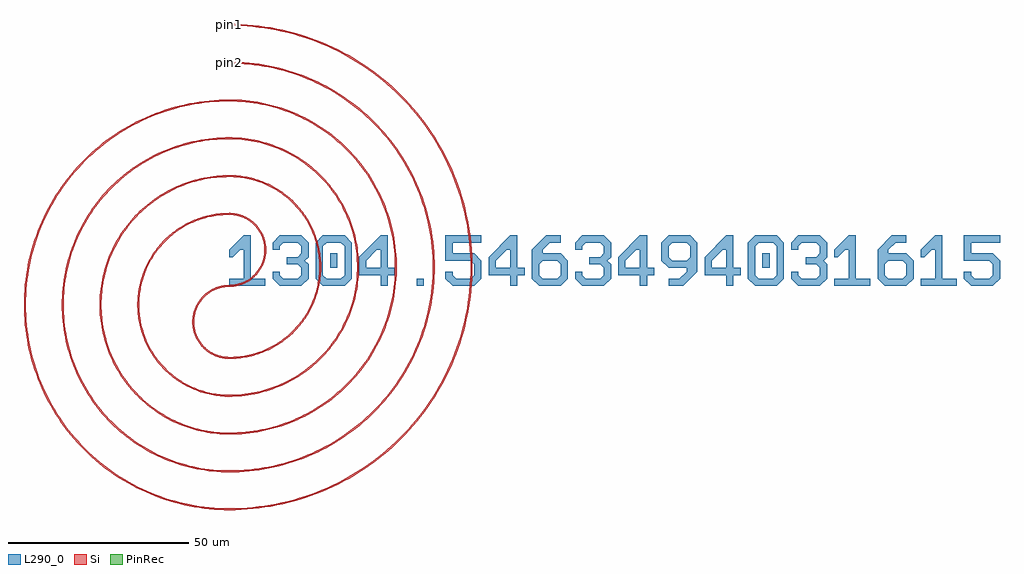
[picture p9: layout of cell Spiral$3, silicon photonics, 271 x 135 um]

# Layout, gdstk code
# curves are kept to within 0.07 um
import gdstk
lib = gdstk.Library(unit=1e-6, precision=1e-09)
def R(c, l, rs):  # rectangles x0, y0, x1, y1
    for r in rs: c.add(gdstk.rectangle(r[:2], r[2:], *l))
def P(c, l, *ps):  # polygons
    for p in ps: c.add(gdstk.Polygon(p, *l))
Si = (1, 0)
PinRec = (1, 10)
L290_0 = (290, 0)

spiral_3 = lib.new_cell('Spiral$3')
P(spiral_3, Si, [(0,-0.25),(0,0.25),(1.194,0.323),(2.369,0.542),(3.509,0.903),(4.384,1.291),(5.808,2.169),(7.061,3.277),(8.237,4.784),(9.097,6.491),(9.563,8.098),(9.75,10),(9.563,11.902),(9.097,13.509),(8.237,15.216),(7.061,16.723),(5.808,17.831),(4.384,18.709),(3.509,19.097),(2.369,19.458),(1.194,19.677),(0,19.75),(0,20.25),(1.005,20.201),(2,20.053),(2.975,19.809),(3.923,19.47),(5.695,18.523),(7.248,17.248),(8.523,15.695),(9.47,13.923),(9.809,12.975),(10.053,12),(10.201,11.005),(10.25,10),(10.201,8.995),(10.053,8),(9.809,7.025),(9.47,6.077),(8.523,4.305),(7.248,2.752),(5.695,1.477),(3.923,0.53),(2.975,0.191),(2,-0.053),(1.005,-0.201)],
  [(0,-20.25),(-1.005,-20.201),(-2,-20.053),(-3.923,-19.47),(-5.695,-18.523),(-7.248,-17.248),(-8.523,-15.695),(-9.47,-13.923),(-10.053,-12),(-10.201,-11.005),(-10.25,-10),(-10.201,-8.995),(-10.001,-7.754),(-9.371,-5.846),(-8.792,-4.73),(-8.233,-3.894),(-7.424,-2.932),(-6.695,-2.239),(-5.052,-1.082),(-4.154,-0.629),(-3.215,-0.267),(-1.504,0.139),(0.956,0.297),(2.136,0.487),(3.509,0.903),(4.806,1.517),(6.185,2.463),(7.537,3.815),(8.599,5.404),(9.258,6.942),(9.563,8.098),(9.724,9.283),(9.747,10.239),(9.644,11.431),(9.458,12.369),(9.097,13.509),(8.599,14.596),(7.971,15.614),(7.224,16.548),(6.548,17.224),(5.013,18.363),(3.951,18.914),(2.6,19.397),(1.194,19.677),(0,19.75),(0,20.25),(1.005,20.201),(2,20.053),(3.923,19.47),(5.695,18.523),(7.248,17.248),(8.523,15.695),(9.47,13.923),(10.053,12),(10.201,11.005),(10.25,10),(10.201,8.995),(10.001,7.754),(9.371,5.846),(8.792,4.73),(8.233,3.894),(7.424,2.932),(6.695,2.239),(5.052,1.082),(4.154,0.629),(3.215,0.267),(1.504,-0.139),(-0.956,-0.297),(-2.136,-0.487),(-3.509,-0.903),(-4.806,-1.517),(-6.185,-2.463),(-7.537,-3.815),(-8.599,-5.404),(-9.258,-6.942),(-9.563,-8.098),(-9.724,-9.283),(-9.747,-10.239),(-9.644,-11.431),(-9.458,-12.369),(-9.097,-13.509),(-8.599,-14.596),(-7.971,-15.614),(-7.224,-16.548),(-6.548,-17.224),(-5.013,-18.363),(-3.951,-18.914),(-2.6,-19.397),(-1.194,-19.677),(0,-19.75)],
  [(0,-20.25),(0,-19.75),(2.45,-19.63),(5.478,-19.143),(7.842,-18.488),(10.131,-17.605),(12.322,-16.502),(14.395,-15.19),(15.86,-14.075),(17.678,-12.428),(19.325,-10.61),(20.787,-8.639),(22.048,-6.535),(23.097,-4.317),(23.924,-2.007),(24.52,0.373),(24.88,2.8),(25,5.25),(24.88,7.7),(24.52,10.127),(23.924,12.507),(23.097,14.817),(22.048,17.035),(20.787,19.139),(19.325,21.11),(17.678,22.928),(15.86,24.575),(14.395,25.69),(12.322,27.002),(10.131,28.105),(7.842,28.988),(5.478,29.643),(2.45,30.13),(0,30.25),(0,30.75),(2.499,30.627),(4.975,30.26),(7.402,29.652),(9.758,28.809),(12.021,27.739),(14.167,26.452),(16.177,24.962),(18.031,23.281),(19.712,21.427),(21.202,19.417),(22.489,17.271),(23.559,15.008),(24.402,12.652),(25.01,10.225),(25.377,7.749),(25.5,5.25),(25.377,2.751),(25.01,0.275),(24.402,-2.152),(23.559,-4.508),(22.489,-6.771),(21.202,-8.917),(19.712,-10.927),(18.031,-12.781),(16.177,-14.462),(14.167,-15.952),(12.021,-17.239),(9.758,-18.309),(7.402,-19.152),(4.975,-19.76),(2.499,-20.127)],
  [(0,-30.75),(-2.499,-30.627),(-4.975,-30.26),(-7.402,-29.652),(-9.758,-28.809),(-12.021,-27.739),(-14.167,-26.452),(-16.177,-24.962),(-18.031,-23.281),(-19.712,-21.427),(-21.202,-19.417),(-22.489,-17.271),(-23.559,-15.008),(-24.402,-12.652),(-25.01,-10.225),(-25.377,-7.749),(-25.5,-5.25),(-25.377,-2.751),(-25.01,-0.275),(-24.402,2.152),(-23.559,4.508),(-22.489,6.771),(-21.202,8.917),(-19.712,10.927),(-18.031,12.781),(-16.177,14.462),(-14.167,15.952),(-12.021,17.239),(-9.758,18.309),(-7.402,19.152),(-4.975,19.76),(-2.499,20.127),(0,20.25),(0,19.75),(-2.45,19.63),(-5.478,19.143),(-7.842,18.488),(-10.131,17.605),(-12.322,16.502),(-14.395,15.19),(-15.86,14.075),(-17.678,12.428),(-19.325,10.61),(-20.787,8.639),(-22.048,6.535),(-23.097,4.317),(-23.924,2.007),(-24.52,-0.373),(-24.88,-2.8),(-25,-5.25),(-24.88,-7.7),(-24.52,-10.127),(-23.924,-12.507),(-23.097,-14.817),(-22.048,-17.035),(-20.787,-19.139),(-19.325,-21.11),(-17.678,-22.928),(-15.86,-24.575),(-14.395,-25.69),(-12.322,-27.002),(-10.131,-28.105),(-7.842,-28.988),(-5.478,-29.643),(-2.45,-30.13),(0,-30.25)],
  [(0,-30.75),(0,-30.25),(2.612,-30.154),(4.346,-29.983),(6.926,-29.568),(8.626,-29.186),(11.96,-28.175),(14.386,-27.204),(16.735,-26.058),(19.723,-24.267),(22.521,-22.192),(25.102,-19.852),(27.442,-17.271),(29.517,-14.473),(31.308,-11.485),(32.798,-8.335),(33.971,-5.055),(34.818,-1.676),(35.329,1.77),(35.5,5.25),(35.329,8.73),(34.818,12.176),(33.971,15.555),(32.798,18.835),(31.308,21.985),(29.517,24.973),(27.442,27.771),(25.102,30.352),(22.521,32.692),(19.723,34.767),(16.735,36.558),(14.386,37.704),(11.96,38.675),(8.626,39.686),(6.926,40.068),(4.346,40.483),(2.612,40.654),(0,40.75),(0,41.25),(3.529,41.077),(7.023,40.558),(10.45,39.7),(13.777,38.51),(16.97,36.999),(20.001,35.183),(22.838,33.078),(25.456,30.706),(27.828,28.088),(29.933,25.251),(31.749,22.22),(33.26,19.027),(34.45,15.7),(35.308,12.273),(35.827,8.779),(36,5.25),(35.827,1.721),(35.308,-1.773),(34.45,-5.2),(33.26,-8.527),(31.749,-11.72),(29.933,-14.751),(27.828,-17.588),(25.456,-20.206),(22.838,-22.578),(20.001,-24.683),(16.97,-26.499),(13.777,-28.01),(10.45,-29.2),(7.023,-30.058),(3.529,-30.577)],
  [(0,-41.25),(-3.529,-41.077),(-7.023,-40.558),(-10.45,-39.7),(-13.777,-38.51),(-16.97,-36.999),(-20.001,-35.183),(-22.838,-33.078),(-25.456,-30.706),(-27.828,-28.088),(-29.933,-25.251),(-31.749,-22.22),(-33.26,-19.027),(-34.45,-15.7),(-35.308,-12.273),(-35.827,-8.779),(-36,-5.25),(-35.827,-1.721),(-35.308,1.773),(-34.45,5.2),(-33.26,8.527),(-31.749,11.72),(-29.933,14.751),(-27.828,17.588),(-25.456,20.206),(-22.838,22.578),(-20.001,24.683),(-16.97,26.499),(-13.777,28.01),(-10.45,29.2),(-7.023,30.058),(-3.529,30.577),(0,30.75),(0,30.25),(-2.612,30.154),(-4.346,29.983),(-6.926,29.568),(-8.626,29.186),(-11.96,28.175),(-14.386,27.204),(-16.735,26.058),(-19.723,24.267),(-22.521,22.192),(-25.102,19.852),(-27.442,17.271),(-29.517,14.473),(-31.308,11.485),(-32.798,8.335),(-33.971,5.055),(-34.818,1.676),(-35.329,-1.77),(-35.5,-5.25),(-35.329,-8.73),(-34.818,-12.176),(-33.971,-15.555),(-32.798,-18.835),(-31.308,-21.985),(-29.517,-24.973),(-27.442,-27.771),(-25.102,-30.352),(-22.521,-32.692),(-19.723,-34.767),(-16.735,-36.558),(-14.386,-37.704),(-11.96,-38.675),(-8.626,-39.686),(-6.926,-40.068),(-4.346,-40.483),(-2.612,-40.654),(0,-40.75)],
  [(0,-41.25),(0,-40.75),(2.257,-40.695),(5.631,-40.404),(7.864,-40.073),(11.177,-39.371),(13.353,-38.769),(15.497,-38.061),(18.641,-36.804),(20.682,-35.838),(22.673,-34.774),(25.556,-32.998),(27.402,-31.698),(29.182,-30.308),(30.892,-28.834),(32.527,-27.277),(34.084,-25.642),(35.558,-23.932),(36.948,-22.152),(38.248,-20.306),(39.456,-18.399),(40.568,-16.434),(41.584,-14.418),(42.498,-12.353),(43.311,-10.247),(44.019,-8.103),(44.621,-5.927),(45.116,-3.724),(45.502,-1.5),(45.778,0.741),(45.945,2.993),(46,5.25),(45.945,7.507),(45.778,9.759),(45.502,12),(45.116,14.224),(44.621,16.427),(44.019,18.603),(43.311,20.747),(42.498,22.853),(41.584,24.918),(40.568,26.934),(39.456,28.899),(38.248,30.806),(36.948,32.652),(35.558,34.432),(34.084,36.142),(32.527,37.777),(30.892,39.334),(29.182,40.808),(27.402,42.198),(25.556,43.498),(22.673,45.274),(20.682,46.338),(18.641,47.304),(15.497,48.561),(13.353,49.269),(11.177,49.871),(7.864,50.573),(5.631,50.904),(2.257,51.195),(0,51.25),(0,51.75),(2.282,51.694),(4.558,51.526),(6.823,51.247),(9.072,50.857),(11.299,50.356),(13.498,49.748),(15.665,49.032),(17.795,48.21),(19.881,47.286),(21.92,46.259),(23.906,45.134),(25.834,43.913),(27.7,42.599),(29.499,41.195),(31.227,39.704),(32.88,38.13),(34.454,36.477),(35.945,34.749),(37.349,32.95),(38.663,31.084),(39.884,29.156),(41.009,27.17),(42.036,25.131),(42.96,23.045),(43.782,20.915),(44.498,18.748),(45.106,16.549),(45.607,14.322),(45.997,12.073),(46.276,9.808),(46.444,7.532),(46.5,5.25),(46.444,2.968),(46.276,0.692),(45.997,-1.573),(45.607,-3.822),(45.106,-6.049),(44.498,-8.248),(43.782,-10.415),(42.96,-12.545),(42.036,-14.631),(41.009,-16.67),(39.884,-18.656),(38.663,-20.584),(37.349,-22.45),(35.945,-24.249),(34.454,-25.977),(32.88,-27.63),(31.227,-29.204),(29.499,-30.695),(27.7,-32.099),(25.834,-33.413),(23.906,-34.634),(21.92,-35.759),(19.881,-36.786),(17.795,-37.71),(15.665,-38.532),(13.498,-39.248),(11.299,-39.856),(9.072,-40.357),(6.823,-40.747),(4.558,-41.026),(2.282,-41.194)],
  [(0,-51.75),(-2.282,-51.694),(-4.558,-51.526),(-6.823,-51.247),(-9.072,-50.857),(-11.299,-50.356),(-13.498,-49.748),(-15.665,-49.032),(-17.795,-48.21),(-19.881,-47.286),(-21.92,-46.259),(-23.906,-45.134),(-25.834,-43.913),(-27.7,-42.599),(-29.499,-41.195),(-31.227,-39.704),(-32.88,-38.13),(-34.454,-36.477),(-35.945,-34.749),(-37.349,-32.95),(-38.663,-31.084),(-39.884,-29.156),(-41.009,-27.17),(-42.036,-25.131),(-42.96,-23.045),(-43.782,-20.915),(-44.498,-18.748),(-45.106,-16.549),(-45.607,-14.322),(-45.997,-12.073),(-46.276,-9.808),(-46.444,-7.532),(-46.5,-5.25),(-46.444,-2.968),(-46.276,-0.692),(-45.997,1.573),(-45.607,3.822),(-45.106,6.049),(-44.498,8.248),(-43.782,10.415),(-42.96,12.545),(-42.036,14.631),(-41.009,16.67),(-39.884,18.656),(-38.663,20.584),(-37.349,22.45),(-35.945,24.249),(-34.454,25.977),(-32.88,27.63),(-31.227,29.204),(-29.499,30.695),(-27.7,32.099),(-25.834,33.413),(-23.906,34.634),(-21.92,35.759),(-19.881,36.786),(-17.795,37.71),(-15.665,38.532),(-13.498,39.248),(-11.299,39.856),(-9.072,40.357),(-6.823,40.747),(-4.558,41.026),(-2.282,41.194),(0,41.25),(0,40.75),(-2.257,40.695),(-5.631,40.404),(-7.864,40.073),(-11.177,39.371),(-13.353,38.769),(-15.497,38.061),(-18.641,36.804),(-20.682,35.838),(-22.673,34.774),(-25.556,32.998),(-27.402,31.698),(-29.182,30.308),(-30.892,28.834),(-32.527,27.277),(-34.084,25.642),(-35.558,23.932),(-36.948,22.152),(-38.248,20.306),(-39.456,18.399),(-40.568,16.434),(-41.584,14.418),(-42.498,12.353),(-43.311,10.247),(-44.019,8.103),(-44.621,5.927),(-45.116,3.724),(-45.502,1.5),(-45.778,-0.741),(-45.945,-2.993),(-46,-5.25),(-45.945,-7.507),(-45.778,-9.759),(-45.502,-12),(-45.116,-14.224),(-44.621,-16.427),(-44.019,-18.603),(-43.311,-20.747),(-42.498,-22.853),(-41.584,-24.918),(-40.568,-26.934),(-39.456,-28.899),(-38.248,-30.806),(-36.948,-32.652),(-35.558,-34.432),(-34.084,-36.142),(-32.527,-37.777),(-30.892,-39.334),(-29.182,-40.808),(-27.402,-42.198),(-25.556,-43.498),(-22.673,-45.274),(-20.682,-46.338),(-18.641,-47.304),(-15.497,-48.561),(-13.353,-49.269),(-11.177,-49.871),(-7.864,-50.573),(-5.631,-50.904),(-2.257,-51.195),(0,-51.25)],
  [(0,-51.75),(0,-51.25),(2.772,-51.182),(5.538,-50.978),(9.659,-50.418),(12.379,-49.877),(16.401,-48.817),(19.034,-47.947),(21.622,-46.949),(24.157,-45.825),(26.634,-44.579),(29.047,-43.212),(31.39,-41.728),(33.657,-40.131),(35.843,-38.425),(37.943,-36.614),(39.952,-34.702),(41.864,-32.693),(43.675,-30.593),(45.381,-28.407),(46.978,-26.14),(48.462,-23.797),(49.829,-21.384),(51.075,-18.907),(52.199,-16.372),(53.197,-13.784),(54.067,-11.151),(54.807,-8.478),(55.414,-5.773),(55.888,-3.04),(56.228,-0.288),(56.432,2.478),(56.5,5.25),(56.432,8.022),(56.228,10.788),(55.888,13.54),(55.414,16.273),(54.807,18.978),(54.067,21.651),(53.197,24.284),(52.199,26.872),(51.075,29.407),(49.829,31.884),(48.462,34.297),(46.978,36.64),(45.381,38.907),(43.675,41.093),(41.864,43.193),(39.952,45.202),(37.943,47.114),(35.843,48.925),(33.657,50.631),(31.39,52.228),(29.047,53.712),(26.634,55.079),(24.157,56.325),(21.622,57.449),(19.034,58.447),(16.401,59.317),(12.379,60.377),(9.659,60.918),(5.538,61.478),(2.772,61.682),(0,61.75),(0,62.25),(2.797,62.181),(5.587,61.976),(8.364,61.633),(11.12,61.155),(13.85,60.542),(16.546,59.796),(19.203,58.918),(21.813,57.911),(24.371,56.777),(26.87,55.52),(29.304,54.141),(31.668,52.644),(33.955,51.033),(36.16,49.312),(38.279,47.484),(40.305,45.555),(42.234,43.529),(44.062,41.41),(45.783,39.205),(47.394,36.918),(48.891,34.554),(50.27,32.12),(51.527,29.621),(52.661,27.063),(53.668,24.453),(54.546,21.796),(55.292,19.1),(55.905,16.37),(56.383,13.614),(56.726,10.837),(56.931,8.047),(57,5.25),(56.931,2.453),(56.726,-0.337),(56.383,-3.114),(55.905,-5.87),(55.292,-8.6),(54.546,-11.296),(53.668,-13.953),(52.661,-16.563),(51.527,-19.121),(50.27,-21.62),(48.891,-24.054),(47.394,-26.418),(45.783,-28.705),(44.062,-30.91),(42.234,-33.029),(40.305,-35.055),(38.279,-36.984),(36.16,-38.812),(33.955,-40.533),(31.668,-42.144),(29.304,-43.641),(26.87,-45.02),(24.371,-46.277),(21.813,-47.411),(19.203,-48.418),(16.546,-49.296),(13.85,-50.042),(11.12,-50.655),(8.364,-51.133),(5.587,-51.476),(2.797,-51.681)],
  [(0,-62.25),(-2.797,-62.181),(-5.587,-61.976),(-8.364,-61.633),(-11.12,-61.155),(-13.85,-60.542),(-16.546,-59.796),(-19.203,-58.918),(-21.813,-57.911),(-24.371,-56.777),(-26.87,-55.52),(-29.304,-54.141),(-31.668,-52.644),(-33.955,-51.033),(-36.16,-49.312),(-38.279,-47.484),(-40.305,-45.555),(-42.234,-43.529),(-44.062,-41.41),(-45.783,-39.205),(-47.394,-36.918),(-48.891,-34.554),(-50.27,-32.12),(-51.527,-29.621),(-52.661,-27.063),(-53.668,-24.453),(-54.546,-21.796),(-55.292,-19.1),(-55.905,-16.37),(-56.383,-13.614),(-56.726,-10.837),(-56.931,-8.047),(-57,-5.25),(-56.931,-2.453),(-56.726,0.337),(-56.383,3.114),(-55.905,5.87),(-55.292,8.6),(-54.546,11.296),(-53.668,13.953),(-52.661,16.563),(-51.527,19.121),(-50.27,21.62),(-48.891,24.054),(-47.394,26.418),(-45.783,28.705),(-44.062,30.91),(-42.234,33.029),(-40.305,35.055),(-38.279,36.984),(-36.16,38.812),(-33.955,40.533),(-31.668,42.144),(-29.304,43.641),(-26.87,45.02),(-24.371,46.277),(-21.813,47.411),(-19.203,48.418),(-16.546,49.296),(-13.85,50.042),(-11.12,50.655),(-8.364,51.133),(-5.587,51.476),(-2.797,51.681),(0,51.75),(0,51.25),(-2.772,51.182),(-5.538,50.978),(-9.659,50.418),(-12.379,49.877),(-16.401,48.817),(-19.034,47.947),(-21.622,46.949),(-24.157,45.825),(-26.634,44.579),(-29.047,43.212),(-31.39,41.728),(-33.657,40.131),(-35.843,38.425),(-37.943,36.614),(-39.952,34.702),(-41.864,32.693),(-43.675,30.593),(-45.381,28.407),(-46.978,26.14),(-48.462,23.797),(-49.829,21.384),(-51.075,18.907),(-52.199,16.372),(-53.197,13.784),(-54.067,11.151),(-54.807,8.478),(-55.414,5.773),(-55.888,3.04),(-56.228,0.288),(-56.432,-2.478),(-56.5,-5.25),(-56.432,-8.022),(-56.228,-10.788),(-55.888,-13.54),(-55.414,-16.273),(-54.807,-18.978),(-54.067,-21.651),(-53.197,-24.284),(-52.199,-26.872),(-51.075,-29.407),(-49.829,-31.884),(-48.462,-34.297),(-46.978,-36.64),(-45.381,-38.907),(-43.675,-41.093),(-41.864,-43.193),(-39.952,-45.202),(-37.943,-47.114),(-35.843,-48.925),(-33.657,-50.631),(-31.39,-52.228),(-29.047,-53.712),(-26.634,-55.079),(-24.157,-56.325),(-21.622,-57.449),(-19.034,-58.447),(-16.401,-59.317),(-12.379,-60.377),(-9.659,-60.918),(-5.538,-61.478),(-2.772,-61.682),(0,-61.75)],
  [(0,-62.25),(0,-61.75),(3.288,-61.669),(8.202,-61.246),(11.454,-60.764),(14.68,-60.122),(19.449,-58.865),(22.572,-57.833),(25.64,-56.65),(28.646,-55.317),(31.584,-53.839),(34.445,-52.218),(37.223,-50.458),(39.912,-48.565),(42.504,-46.542),(44.994,-44.394),(47.376,-42.126),(49.644,-39.744),(51.792,-37.254),(53.815,-34.662),(55.708,-31.973),(57.468,-29.195),(59.089,-26.334),(60.567,-23.396),(61.9,-20.39),(63.083,-17.322),(64.115,-14.199),(64.992,-11.03),(65.713,-7.821),(66.275,-4.581),(66.677,-1.317),(66.919,1.962),(67,5.25),(66.919,8.538),(66.677,11.817),(66.275,15.081),(65.713,18.321),(64.992,21.53),(64.115,24.699),(63.083,27.822),(61.9,30.89),(60.567,33.896),(59.089,36.834),(57.468,39.695),(55.708,42.473),(53.815,45.162),(51.792,47.754),(49.644,50.244),(47.376,52.626),(44.994,54.894),(42.504,57.042),(39.912,59.065),(37.223,60.958),(34.445,62.718),(31.584,64.339),(28.646,65.817),(25.64,67.15),(22.572,68.333),(19.449,69.365),(14.68,70.622),(11.454,71.264),(8.202,71.746),(3.288,72.169),(0,72.25),(0,72.75),(3.312,72.669),(6.616,72.425),(9.904,72.019),(13.169,71.453),(16.401,70.727),(19.594,69.843),(22.74,68.804),(25.831,67.612),(28.86,66.269),(31.819,64.78),(34.702,63.147),(37.501,61.374),(40.21,59.467),(42.822,57.428),(45.33,55.264),(47.73,52.98),(50.014,50.58),(52.178,48.072),(54.217,45.46),(56.124,42.751),(57.897,39.952),(59.53,37.069),(61.019,34.11),(62.362,31.081),(63.554,27.99),(64.593,24.844),(65.477,21.651),(66.203,18.419),(66.769,15.154),(67.175,11.866),(67.419,8.562),(67.5,5.25),(67.419,1.938),(67.175,-1.366),(66.769,-4.654),(66.203,-7.919),(65.477,-11.151),(64.593,-14.344),(63.554,-17.49),(62.362,-20.581),(61.019,-23.61),(59.53,-26.569),(57.897,-29.452),(56.124,-32.251),(54.217,-34.96),(52.178,-37.572),(50.014,-40.08),(47.73,-42.48),(45.33,-44.764),(42.822,-46.928),(40.21,-48.967),(37.501,-50.874),(34.702,-52.647),(31.819,-54.28),(28.86,-55.769),(25.831,-57.112),(22.74,-58.304),(19.594,-59.343),(16.401,-60.227),(13.169,-60.953),(9.904,-61.519),(6.616,-61.925),(3.312,-62.169)])
R(spiral_3, L290_0, [(52,0,54,2), (28,5,30,9), (148,5,150,9)])
P(spiral_3, L290_0, [(0,0),(0,2),(4,2),(4,10),(3,10),(1,8),(0,8),(0,10),(4,14),(6,14),(6,2),(10,2),(10,0)],
  [(14,0),(12,2),(12,4),(14,4),(14,3),(15,2),(19,2),(20,3),(20,5),(19,6),(16,6),(16,8),(19,8),(20,9),(20,11),(19,12),(15,12),(14,11),(14,10),(12,10),(12,12),(14,14),(20,14),(22,12),(22,8),(21,7),(22,6),(22,2),(20,0)],
  [(26,0),(24,2),(24,12),(26,14),(32,14),(34,12),(27,12),(26,11),(26,3),(27,2),(31,2),(32,3),(32,11),(31,12),(34,12),(34,2),(32,0)],
  [(42,0),(42,3),(36,3),(36,5),(42,5),(42,10),(41,10),(38,7),(38,5),(36,5),(36,8),(42,14),(44,14),(44,5),(46,5),(46,3),(44,3),(44,0)],
  [(62,0),(60,2),(60,4),(62,4),(62,3),(63,2),(67,2),(68,3),(68,6),(67,7),(60,7),(60,14),(70,14),(70,12),(62,12),(62,9),(68,9),(70,7),(70,2),(68,0)],
  [(78,0),(78,3),(72,3),(72,5),(78,5),(78,10),(77,10),(74,7),(74,5),(72,5),(72,8),(78,14),(80,14),(80,5),(82,5),(82,3),(80,3),(80,0)],
  [(86,0),(84,2),(84,10),(88,14),(92,14),(92,12),(89,12),(87,10),(87,9),(92,9),(94,7),(87,7),(86,6),(86,3),(87,2),(91,2),(92,3),(92,6),(91,7),(94,7),(94,2),(92,0)],
  [(98,0),(96,2),(96,4),(98,4),(98,3),(99,2),(103,2),(104,3),(104,5),(103,6),(100,6),(100,8),(103,8),(104,9),(104,11),(103,12),(99,12),(98,11),(98,10),(96,10),(96,12),(98,14),(104,14),(106,12),(106,8),(105,7),(106,6),(106,2),(104,0)],
  [(114,0),(114,3),(108,3),(108,5),(114,5),(114,10),(113,10),(110,7),(110,5),(108,5),(108,8),(114,14),(116,14),(116,5),(118,5),(118,3),(116,3),(116,0)],
  [(122,0),(122,2),(125,2),(127,4),(127,5),(122,5),(120,7),(127,7),(128,8),(128,11),(127,12),(123,12),(122,11),(122,8),(123,7),(120,7),(120,12),(122,14),(128,14),(130,12),(130,4),(126,0)],
  [(138,0),(138,3),(132,3),(132,5),(138,5),(138,10),(137,10),(134,7),(134,5),(132,5),(132,8),(138,14),(140,14),(140,5),(142,5),(142,3),(140,3),(140,0)],
  [(146,0),(144,2),(144,12),(146,14),(152,14),(154,12),(147,12),(146,11),(146,3),(147,2),(151,2),(152,3),(152,11),(151,12),(154,12),(154,2),(152,0)],
  [(158,0),(156,2),(156,4),(158,4),(158,3),(159,2),(163,2),(164,3),(164,5),(163,6),(160,6),(160,8),(163,8),(164,9),(164,11),(163,12),(159,12),(158,11),(158,10),(156,10),(156,12),(158,14),(164,14),(166,12),(166,8),(165,7),(166,6),(166,2),(164,0)],
  [(168,0),(168,2),(172,2),(172,10),(171,10),(169,8),(168,8),(168,10),(172,14),(174,14),(174,2),(178,2),(178,0)],
  [(182,0),(180,2),(180,10),(184,14),(188,14),(188,12),(185,12),(183,10),(183,9),(188,9),(190,7),(183,7),(182,6),(182,3),(183,2),(187,2),(188,3),(188,6),(187,7),(190,7),(190,2),(188,0)],
  [(192,0),(192,2),(196,2),(196,10),(195,10),(193,8),(192,8),(192,10),(196,14),(198,14),(198,2),(202,2),(202,0)],
  [(206,0),(204,2),(204,4),(206,4),(206,3),(207,2),(211,2),(212,3),(212,6),(211,7),(204,7),(204,14),(214,14),(214,12),(206,12),(206,9),(212,9),(214,7),(214,2),(212,0)])
spiral_3.add(gdstk.FlexPath([(0.05,72.5),(-0.05,72.5)], 0.5, ends="flush", simple_path=True, layer=1, datatype=10))  # PinRec
spiral_3.add(gdstk.FlexPath([(0.05,62),(-0.05,62)], 0.5, ends="flush", simple_path=True, layer=1, datatype=10))  # PinRec
spiral_3.add(gdstk.Label('pin1', (0,72.5), layer=1, texttype=10))
spiral_3.add(gdstk.Label('pin2', (0,62), layer=1, texttype=10))

lib.write_gds('Spiral_3.gds')
